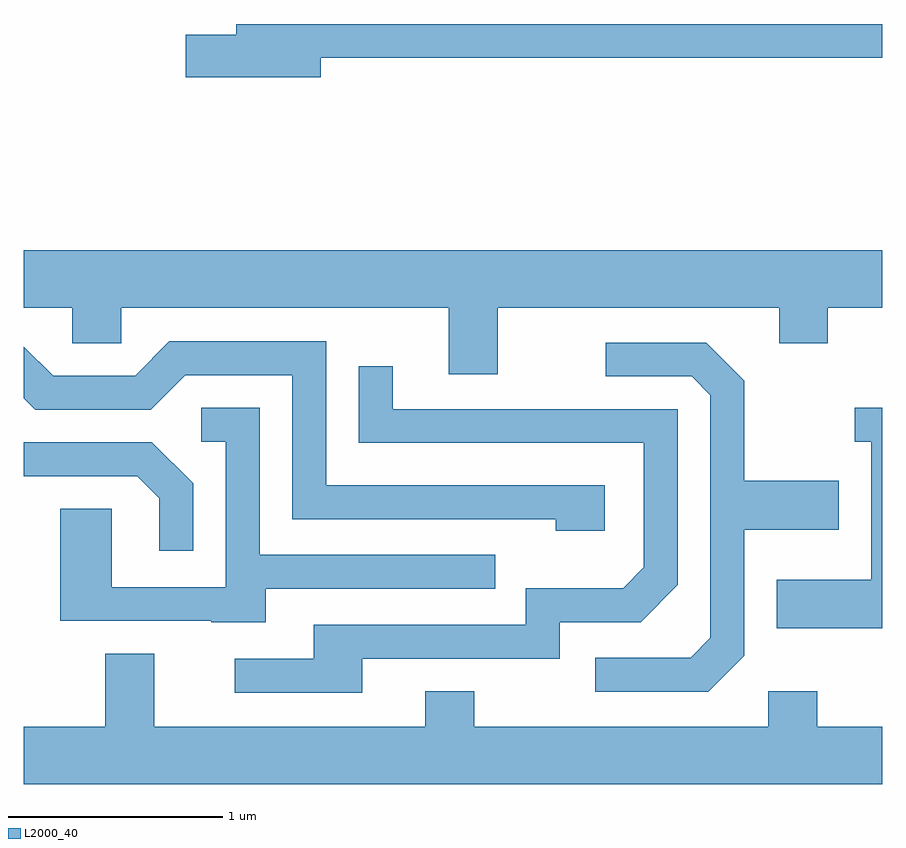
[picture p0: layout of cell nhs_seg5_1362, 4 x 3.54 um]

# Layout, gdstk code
import gdstk
lib = gdstk.Library(unit=1e-6, precision=1e-09)
def P(c, l, *ps):  # polygons
    for p in ps: c.add(gdstk.Polygon(p, *l))
L2000_40 = (2000, 40)

nhs_seg5_1362 = lib.new_cell('nhs_seg5_1362')
P(nhs_seg5_1362, L2000_40, [(226.994,1435.761),(229.611,1435.761),(229.611,1435.919),(226.601,1435.919),(226.601,1435.869),(226.366,1435.869),(226.366,1435.671),(226.994,1435.671)],
  [(227.819,1434.596),(229.131,1434.596),(229.131,1434.431),(229.359,1434.431),(229.359,1434.596),(229.611,1434.596),(229.611,1434.864),(225.611,1434.864),(225.611,1434.596),(225.836,1434.596),(225.836,1434.431),(226.064,1434.431),(226.064,1434.596),(227.591,1434.596),(227.591,1434.286),(227.819,1434.286)],
  [(228.319,1433.769),(227.019,1433.769),(227.019,1434.439),(226.289,1434.439),(226.129,1434.279),(225.747,1434.279),(225.611,1434.415),(225.611,1434.174),(225.664,1434.121),(226.202,1434.121),(226.362,1434.281),(226.861,1434.281),(226.861,1433.611),(228.091,1433.611),(228.091,1433.556),(228.319,1433.556)],
  [(228.969,1432.974),(228.969,1433.561),(229.409,1433.561),(229.409,1433.789),(228.969,1433.789),(228.969,1434.257),(228.792,1434.434),(228.323,1434.434),(228.323,1434.276),(228.724,1434.276),(228.811,1434.189),(228.811,1433.057),(228.719,1432.964),(228.273,1432.964),(228.273,1432.806),(228.802,1432.806)],
  [(227.189,1432.961),(228.109,1432.961),(228.109,1433.131),(228.487,1433.131),(228.659,1433.304),(228.659,1434.124),(227.329,1434.124),(227.329,1434.323),(227.171,1434.323),(227.171,1433.966),(228.501,1433.966),(228.501,1433.387),(228.404,1433.289),(227.951,1433.289),(227.951,1433.119),(226.961,1433.119),(226.961,1432.959),(226.593,1432.959),(226.593,1432.801),(227.189,1432.801)],
  [(226.739,1433.286),(227.808,1433.286),(227.808,1433.444),(226.709,1433.444),(226.709,1434.129),(226.438,1434.129),(226.438,1433.971),(226.551,1433.971),(226.551,1433.294),(226.019,1433.294),(226.019,1433.659),(225.781,1433.659),(225.781,1433.136),(226.485,1433.136),(226.485,1433.131),(226.739,1433.131)],
  [(229.611,1434.129),(229.483,1434.129),(229.483,1433.971),(229.561,1433.971),(229.561,1433.329),(229.121,1433.329),(229.121,1433.101),(229.611,1433.101)],
  [(226.399,1433.777),(226.207,1433.969),(225.611,1433.969),(225.611,1433.811),(226.139,1433.811),(226.241,1433.709),(226.241,1433.463),(226.399,1433.463)],
  [(229.611,1432.644),(229.309,1432.644),(229.309,1432.809),(229.081,1432.809),(229.081,1432.644),(227.709,1432.644),(227.709,1432.809),(227.481,1432.809),(227.481,1432.644),(226.219,1432.644),(226.219,1432.984),(225.991,1432.984),(225.991,1432.644),(225.611,1432.644),(225.611,1432.376),(229.611,1432.376)])

lib.write_gds('nhs_seg5_1362.gds')
